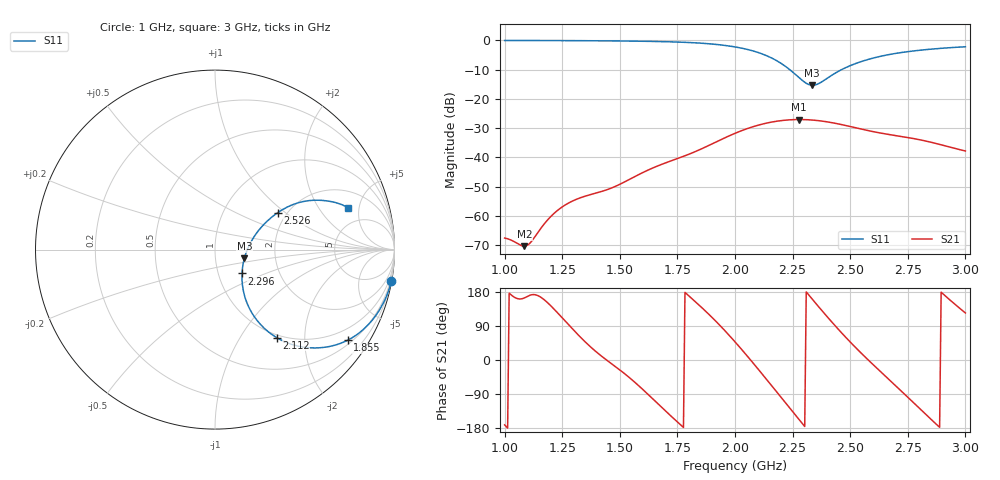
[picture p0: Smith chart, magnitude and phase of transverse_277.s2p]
! TOUCHSTONE file generated by CST MICROWAVE STUDIO
! Date and time: Tue Mar 11 13:58:23 2025
! Project name: transverse.cst
! Parameters = {Fracture=1; B=12.5; D=160; F=25; Feed=2.85625; L=100; M=10; R=0.384908; S=1; Theta=270; length=57.125; wave=114.25}
! Header version: 2024
! Port assignment regex: !\s*Touchstone port\s*([0-9]+)\s*=\s*(CST MWS port|CST DES external port|CST DES block port)\s*(.+)\s* \(\"(.*)\"\)(\s*mode\s*([0-9]+))?.*
! Touchstone port assignment:
! Touchstone port 1 = CST MWS port 1 ("")
! Touchstone port 2 = CST MWS port 2 ("")
# GHz S MA R 50
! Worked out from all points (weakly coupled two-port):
!   305 points, 1 GHz to 3 GHz, reference 50 ohm
!   highest |S21| = -27.08 dB at 2.276 GHz (marker M1); lowest = -70.4 dB at 1.086 GHz (marker M2)
!   lowest |S11| = -15.4 dB at 2.336 GHz (marker M3), VSWR 1.41, Z = 69.2 - j6.85 ohm
!   |S11| at or under -10 dB: 2.237 GHz to 2.463 GHz (225.3 MHz wide, 9.59 % of centre)
!   S12 and S22 are empty: the file has one direction only
!   S11 on the Smith chart (normalised r, x): 1 GHz: 0, -11; 1.855 GHz: 0.62, -3.12; 2.112 GHz: 0.96, -1.46; 2.296 GHz: 1.30, -0.36; 2.526 GHz: 1.80, +0.88; 3 GHz: 3.27, +3.86
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1  0.9976 -10.1  0.0004151 -171.2  0 0.0  0 0.0
1.08553  0.9967 -11.3  0.0003014 163.7  0 0.0  0 0.0
1.11184  0.9962 -11.7  0.0003458 171.3  0 0.0  0 0.0
1.17763  0.9946 -12.8  0.0007711 156.1  0 0.0  0 0.0
1.22368  0.9932 -13.6  0.001179 128.5  0 0.0  0 0.0
1.27632  0.9915 -14.5  0.001639 93.9  0 0.0  0 0.0
1.33553  0.9891 -15.7  0.002073 56.2  0 0.0  0 0.0
1.46711  0.9806 -18.7  0.003015 -11.2  0 0.0  0 0.0
1.67105  0.9557 -25.1  0.007291 -118.7  0 0.0  0 0.0
1.85526  0.8949 -34.4  0.01398 138.6  0 0.0  0 0.0
2  0.7733 -45.1  0.0257 48.0  0 0.0  0 0.0
2.11184  0.5992 -55.0  0.0364 -32.4  0 0.0  0 0.0
2.19737  0.4108 -59.8  0.04227 -96.6  0 0.0  0 0.0
2.27632  0.2336 -49.7  0.04426 -155.9  0 0.0  0 0.0
2.29605  0.2009 -41.5  0.04419 -170.6  0 0.0  0 0.0
2.33553  0.1707 -16.4  0.04337 160.4  0 0.0  0 0.0
2.36842  0.1869 4.5  0.04207 136.6  0 0.0  0 0.0
2.42763  0.2643 23.6  0.03867 95.1  0 0.0  0 0.0
2.52632  0.4057 30.5  0.0318 31.1  0 0.0  0 0.0
2.67105  0.5748 28.1  0.02443 -53.0  0 0.0  0 0.0
2.81579  0.6873 23.2  0.01944 -136.5  0 0.0  0 0.0
3  0.7779 17.4  0.01283 124.1  0 0.0  0 0.0
